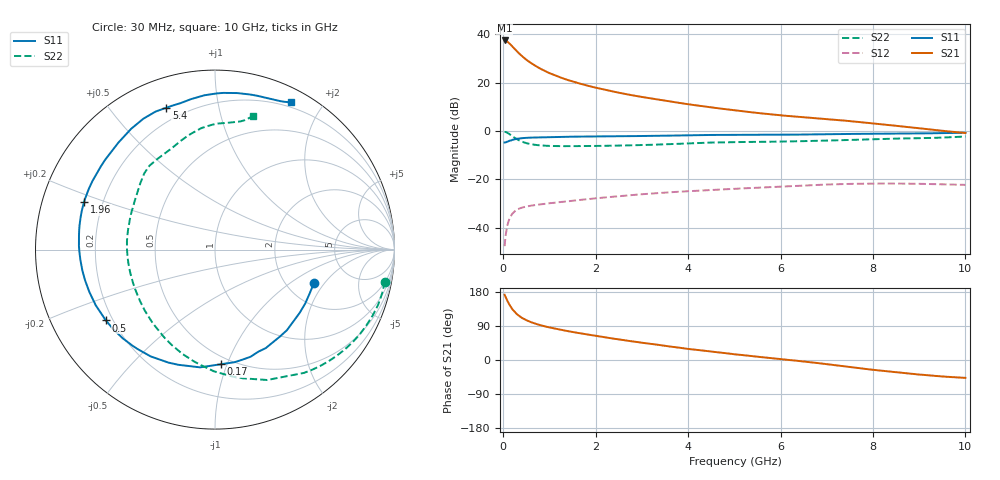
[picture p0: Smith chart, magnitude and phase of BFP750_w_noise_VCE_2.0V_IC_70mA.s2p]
! Infineon Technologies  Discrete & RF Semiconductors
! BFP750
! VCE =  2.0 V,  IC =  70 mA
! Common Emitter S-Parameters:  Jan 2016
# GHz  S  MA  R  50
!  f  S11  S21  S12  S22
! GHz  MAG  ANG  MAG  ANG  MAG  ANG  MAG  ANG
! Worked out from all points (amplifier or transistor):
!   229 points, 30 MHz to 10 GHz, reference 50 ohm
!   highest |S21| = 37.4 dB at 30 MHz (marker M1)
!   |S21| within 3 dB of that: start of sweep to 223 MHz
!   unconditionally stable (mu >= 1): 3.53 GHz to end of sweep
!   at 280 MHz: K = 0.19, MSG = 33.0 dB, |S12| = -32.7 dB
!   at 1.78 GHz: K = 0.76, MSG = 23.6 dB, |S12| = -28.2 dB
!   at 10 GHz: K = 1.05, MAG = 9.3 dB, |S12| = -22.2 dB
!   lowest NFmin = 1.24 dB at 450 MHz
!   S11 on the Smith chart (normalised r, x): 30 MHz: 2.80, -1.58; 170 MHz: 0.44, -0.95; 500 MHz: 0.17, -0.29; 1.96 GHz: 0.13, +0.17; 5.4 GHz: 0.13, +0.71; 10 GHz: 0.15, +1.64
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0.03  0.5817 -18.7  74.33 172.1  0.0042 83.1  0.9632 -10.7
0.05  0.5855 -30.9  73.81 166.1  0.0068 77.2  0.9594 -18.8
0.06  0.5889 -36.7  73.04 163.8  0.0078 74.2  0.952 -22.7
0.1  0.6088 -58.2  68.82 153.5  0.0123 67.0  0.9123 -37.6
0.15  0.6367 -80.0  62.34 142.6  0.0167 57.6  0.8477 -54.1
0.17  0.6395 -87.0  59.43 139.3  0.0179 54.6  0.8158 -59.5
0.2  0.6613 -97.2  55.49 133.6  0.0198 50.7  0.7825 -68.2
0.24  0.6734 -107.6  50.61 128.1  0.0217 46.2  0.734 -77.7
0.3  0.6946 -121.0  44.11 120.5  0.0239 41.1  0.6776 -90.6
0.4  0.7131 -136.2  35.76 111.5  0.0262 35.3  0.6085 -107.4
0.5  0.7249 -147.0  29.77 104.9  0.0276 31.9  0.5643 -120.3
0.7  0.7388 -161.4  22.06 95.6  0.0297 28.5  0.5184 -138.8
1  0.7517 -174.9  15.72 85.9  0.0323 26.9  0.4941 -156.6
1.3  0.7606 175.5  12.19 78.4  0.0347 26.5  0.4885 -168.5
1.7  0.7712 165.5  9.322 69.7  0.0382 26.3  0.4904 179.9
1.96  0.7764 159.9  8.046 64.4  0.0405 25.9  0.4931 173.7
3.4  0.7992 133.8  4.384 39.1  0.053 20.0  0.5284 146.6
5.1  0.8365 112.2  2.621 14.0  0.065 10.3  0.5937 126.9
5.4  0.836 108.9  2.428 10.0  0.067 8.3  0.5969 123.4
6.8  0.8559 95.9  1.831 -8.0  0.0772 -1.7  0.6293 108.9
8.4  0.886 77.2  1.314 -31.1  0.0826 -17.2  0.6966 91.1
10  0.9235 62.6  0.913 -47.2  0.0775 -28.8  0.7719 74.2
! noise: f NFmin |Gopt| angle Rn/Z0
0.45  1.24  0.23  -168  0.46
0.9  1.26  0.33  -162  0.18
1.5  1.28  0.43  -155  0.09
1.9  1.29  0.45  -149  0.08
2.4  1.29  0.45  -142  0.1
3.5  1.53  0.45  -126  0.13
